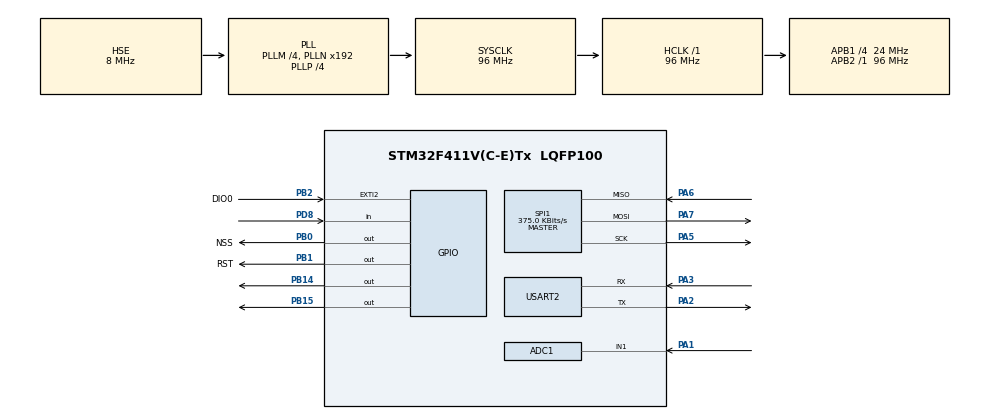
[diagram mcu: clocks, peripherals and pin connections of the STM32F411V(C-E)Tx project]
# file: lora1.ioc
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ADC1.Channel-6\#ChannelRegularConversion=ADC_CHANNEL_1
ADC1.ContinuousConvMode=ENABLE
ADC1.EOCSelection=ADC_EOC_SEQ_CONV
ADC1.NbrOfConversionFlag=1
ADC1.Rank-6\#ChannelRegularConversion=1
ADC1.SamplingTime-6\#ChannelRegularConversion=ADC_SAMPLETIME_3CYCLES
ADC1.master=1
Mcu.Family=STM32F4
Mcu.Name=STM32F411V(C-E)Tx
Mcu.Package=LQFP100
NVIC.PriorityGroup=NVIC_PRIORITYGROUP_0
NVIC.TIM1_UP_TIM10_IRQn=true\:0\:0\:false\:false\:true\:false\:true\:true
NVIC.TimeBase=TIM1_UP_TIM10_IRQn
NVIC.TimeBaseIP=TIM1
PA1.Signal=ADCx_IN1
PA13.Mode=Serial_Wire
PA13.Signal=SYS_JTMS-SWDIO
PA14.Mode=Serial_Wire
PA14.Signal=SYS_JTCK-SWCLK
PA2.Mode=Asynchronous
PA2.Signal=USART2_TX
PA3.Mode=Asynchronous
PA3.Signal=USART2_RX
PA5.Mode=Full_Duplex_Master
PA5.Signal=SPI1_SCK
PA6.Mode=Full_Duplex_Master
PA6.Signal=SPI1_MISO
PA7.Mode=Full_Duplex_Master
PA7.Signal=SPI1_MOSI
PB0.GPIO_Label=NSS
PB0.PinState=GPIO_PIN_SET
PB0.Signal=GPIO_Output
PB1.GPIO_Label=RST
PB1.PinState=GPIO_PIN_SET
PB1.Signal=GPIO_Output
PB14.Signal=GPIO_Output
PB15.Signal=GPIO_Output
PB2.GPIO_Label=DIO0
PB2.Signal=GPXTI2
PC14-OSC32_IN.Mode=LSE-External-Oscillator
PC14-OSC32_IN.Signal=RCC_OSC32_IN
PC15-OSC32_OUT.Mode=LSE-External-Oscillator
PC15-OSC32_OUT.Signal=RCC_OSC32_OUT
PD8.Signal=GPIO_Input
PH0\ -\ OSC_IN.Mode=HSE-External-Oscillator
PH0\ -\ OSC_IN.Signal=RCC_OSC_IN
PH1\ -\ OSC_OUT.Mode=HSE-External-Oscillator
PH1\ -\ OSC_OUT.Signal=RCC_OSC_OUT
ProjectManager.HeapSize=0x200
ProjectManager.StackSize=0x400
ProjectManager.TargetToolchain=STM32CubeIDE
RCC.48MHZClocksFreq_Value=48000000
RCC.AHBFreq_Value=96000000
RCC.APB1CLKDivider=RCC_HCLK_DIV4
RCC.APB1Freq_Value=24000000
RCC.APB1TimFreq_Value=48000000
RCC.APB2Freq_Value=96000000
RCC.APB2TimFreq_Value=96000000
RCC.CortexFreq_Value=96000000
RCC.HCLKFreq_Value=96000000
RCC.HSE_VALUE=8000000
RCC.HSI_VALUE=16000000
RCC.PLLI2SM=5
RCC.PLLI2SN=200
RCC.PLLM=4
RCC.PLLP=RCC_PLLP_DIV4
RCC.PLLQ=8
RCC.PLLSourceVirtual=RCC_PLLSOURCE_HSE
RCC.SYSCLKFreq_VALUE=96000000
RCC.SYSCLKSource=RCC_SYSCLKSOURCE_PLLCLK
RCC.VCOOutputFreq_Value=384000000
SH.ADCx_IN1.0=ADC1_IN1,IN1
SPI1.BaudRatePrescaler=SPI_BAUDRATEPRESCALER_256
SPI1.CalculateBaudRate=375.0 KBits/s
SPI1.Direction=SPI_DIRECTION_2LINES
SPI1.Mode=SPI_MODE_MASTER
SPI1.VirtualType=VM_MASTER
USART2.VirtualMode=VM_ASYNC
VP_SYS_VS_tim1.Mode=TIM1
board=STM32F411E-DISCO

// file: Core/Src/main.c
/* USER CODE BEGIN Header */
/**
  ******************************************************************************
  * @file           : main.c
  * @brief          : Main program body
  ******************************************************************************
  * @attention
  *
  * Copyright (c) 2022 STMicroelectronics.
  * All rights reserved.
  *
  * This software is licensed under terms that can be found in the LICENSE file
  * in the root directory of this software component.
  * If no LICENSE file comes with this software, it is provided AS-IS.
  *
  ******************************************************************************
  */
/* USER CODE END Header */
#include "main.h"
#include "adc.h"
#include "spi.h"
#include "usart.h"
#include "gpio.h"

/* USER CODE BEGIN Includes */
//#include "../../LoRa/Lora/LoRa.h"
#include "LoRa.h"
#include "stdio.h"
#include "string.h"
/* USER CODE END Includes */

/* USER CODE BEGIN PTD */
// LoRa myLoRa;
/* USER CODE END PTD */

/* USER CODE BEGIN PV */
LoRa myLoRa;
//uint16_t LoRa_stat = 0;
uint8_t RxBuffer[64];
/* USER CODE END PV */

void SystemClock_Config(void);

int main(void)
{

  /* MCU Configuration--------------------------------------------------------*/

  /* Reset of all peripherals, Initializes the Flash interface and the Systick. */
  HAL_Init();

  /* Configure the system clock */
  SystemClock_Config();

  /* Initialize all configured peripherals */
  MX_GPIO_Init();
  MX_SPI1_Init();
  MX_ADC1_Init();
  MX_USART2_UART_Init();
  /* USER CODE BEGIN 2 */
  uint16_t readvalue;
  HAL_ADC_Start(&hadc1);
  myLoRa = newLoRa();
  LoRa_reset(&myLoRa);
  myLoRa.CS_port         = NSS_GPIO_Port;
  myLoRa.CS_pin          = NSS_Pin;
  myLoRa.reset_port      = RST_GPIO_Port;
  myLoRa.reset_pin       = RST_Pin;
  myLoRa.DIO0_port       = DIO0_GPIO_Port;
  myLoRa.DIO0_pin        = DIO0_Pin;
  myLoRa.hSPIx           = &hspi1;

  myLoRa.frequency             = 440;             // default = 433 MHz
  myLoRa.spredingFactor        = SF_7;            // default = SF_7
  myLoRa.bandWidth             = BW_31_25KHz;       // default = BW_125KHz
  myLoRa.crcRate               = CR_4_5;          // default = CR_4_5
  myLoRa.power                 = POWER_20db;      // default = 20db
  myLoRa.overCurrentProtection = 130;             // default = 100 mA
  myLoRa.preamble              = 9;              // default = 8;
//  LoRa_stat = LoRa_init(&myLoRa);
  if (LoRa_init(&myLoRa) == LORA_OK){
	  HAL_GPIO_WritePin(GPIOB, GPIO_PIN_15, GPIO_PIN_SET);
  }

//transmitter
//  int stat= 0;
//  char*  send_data;
//  send_data = "Hello world!";
//  if(LoRa_transmit(&myLoRa, (uint8_t*)send_data, 12, 100) == 1){
//	  HAL_GPIO_WritePin(GPIOB, GPIO_PIN_14, GPIO_PIN_SET);
//  }
  //receiver
  uint8_t received_data[32];
  uint8_t packet_size = 0;
  LoRa_startReceiving(&myLoRa);
  /* USER CODE END 2 */

  /* Infinite loop */
  /* USER CODE BEGIN WHILE */
  // receiver
  while (1)
  {
//	  Transmitter
//	   Reading from photoresistor
//	  HAL_ADC_PollForConversion(&hadc1, 1000);
//	  readvalue = HAL_ADC_GetValue(&hadc1);
////	  stat = LoRa_init(&myLoRa);
////	  send_data = "Hello world!";
////	  sprintf(send_data, "%d", readvalue);
////
//	    if(LoRa_transmit(&myLoRa, (uint8_t*)send_data, strlen(send_data), 100) == 1){
//	  	  HAL_GPIO_WritePin(GPIOB, GPIO_PIN_14, GPIO_PIN_SET);
//	    }
//	    else {
//	    	 HAL_GPIO_WritePin(GPIOB, GPIO_PIN_14, GPIO_PIN_RESET);
//	    }
//	    HAL_Delay(500);

//	  receiver
	  packet_size = LoRa_receive(&myLoRa, received_data, 32);
	  if (packet_size == 32) {
		  HAL_GPIO_WritePin(GPIOB, GPIO_PIN_14, GPIO_PIN_SET);
	  }
//	  HAL_Delay(500);
	  if (LoRa_init(&myLoRa) == LORA_OK){
	  	  HAL_GPIO_WritePin(GPIOB, GPIO_PIN_15, GPIO_PIN_SET);
	    }
	  else{
		  HAL_GPIO_WritePin(GPIOB, GPIO_PIN_15, GPIO_PIN_RESET);
	  }
	  HAL_UART_Transmit(&huart2, (uint8_t *) received_data, packet_size, 100);
	  HAL_Delay(500);
    /* USER CODE END WHILE */

  }
}

void SystemClock_Config(void)
{
  RCC_OscInitTypeDef RCC_OscInitStruct = {0};
  RCC_ClkInitTypeDef RCC_ClkInitStruct = {0};

  /** Configure the main internal regulator output voltage
  */
  __HAL_RCC_PWR_CLK_ENABLE();
  __HAL_PWR_VOLTAGESCALING_CONFIG(PWR_REGULATOR_VOLTAGE_SCALE1);

  /** Initializes the RCC Oscillators according to the specified parameters
  * in the RCC_OscInitTypeDef structure.
  */
  RCC_OscInitStruct.OscillatorType = RCC_OSCILLATORTYPE_HSE;
  RCC_OscInitStruct.HSEState = RCC_HSE_ON;
  RCC_OscInitStruct.PLL.PLLState = RCC_PLL_ON;
  RCC_OscInitStruct.PLL.PLLSource = RCC_PLLSOURCE_HSE;
  RCC_OscInitStruct.PLL.PLLM = 4;
  RCC_OscInitStruct.PLL.PLLN = 192;
  RCC_OscInitStruct.PLL.PLLP = RCC_PLLP_DIV4;
  RCC_OscInitStruct.PLL.PLLQ = 8;
  if (HAL_RCC_OscConfig(&RCC_OscInitStruct) != HAL_OK)
  {
    Error_Handler();
  }

  /** Initializes the CPU, AHB and APB buses clocks
  */
  RCC_ClkInitStruct.ClockType = RCC_CLOCKTYPE_HCLK|RCC_CLOCKTYPE_SYSCLK
                              |RCC_CLOCKTYPE_PCLK1|RCC_CLOCKTYPE_PCLK2;
  RCC_ClkInitStruct.SYSCLKSource = RCC_SYSCLKSOURCE_PLLCLK;
  RCC_ClkInitStruct.AHBCLKDivider = RCC_SYSCLK_DIV1;
  RCC_ClkInitStruct.APB1CLKDivider = RCC_HCLK_DIV4;
  RCC_ClkInitStruct.APB2CLKDivider = RCC_HCLK_DIV1;

  if (HAL_RCC_ClockConfig(&RCC_ClkInitStruct, FLASH_LATENCY_3) != HAL_OK)
  {
    Error_Handler();
  }
}

/* USER CODE BEGIN 4 */
void HAL_GPIO_EXTI_Callback(uint16_t GPIO_Pin)
{
  if (GPIO_Pin == DIO0_Pin){
	  LoRa_receive(&myLoRa, RxBuffer, 64);
//	  HAL_GPIO_WritePin(GPIOB, GPIO_PIN_15, GPIO_PIN_SET);
  }
}
/* USER CODE END 4 */

void HAL_TIM_PeriodElapsedCallback(TIM_HandleTypeDef *htim)
{
  if (htim->Instance == TIM1) {
    HAL_IncTick();
  }
}

void Error_Handler(void)
{
  __disable_irq();
  while (1)
  {
  }
}
